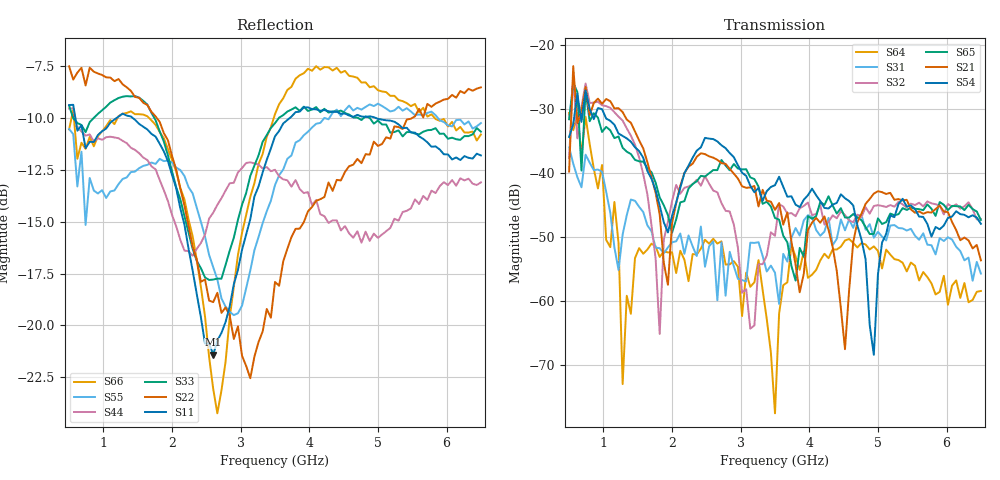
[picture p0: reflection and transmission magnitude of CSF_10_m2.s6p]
!Keysight Technologies,M9804A,MY58100912,A.14.10.03
!Date: Thursday, April 27, 2023 10:28:33
!Correction: S11(C  6-Port  )
!S12(C  6-Port  )
!S13(C  6-Port  )
!S14(C  6-Port  )
!S15(C  6-Port  )
!S16(C  6-Port  )
!S21(C  6-Port  )
!S22(C  6-Port  )
!S23(C  6-Port  )
!S24(C  6-Port  )
!S25(C  6-Port  )
!S26(C  6-Port  )
!S31(C  6-Port  )
!S32(C  6-Port  )
!S33(C  6-Port  )
!S34(C  6-Port  )
!S35(C  6-Port  )
!S36(C  6-Port  )
!S41(C  6-Port  )
!S42(C  6-Port  )
!S43(C  6-Port  )
!S44(C  6-Port  )
!S45(C  6-Port  )
!S46(C  6-Port  )
!S51(C  6-Port  )
!S52(C  6-Port  )
!S53(C  6-Port  )
!S54(C  6-Port  )
!S55(C  6-Port  )
!S56(C  6-Port  )
!S61(C  6-Port  )
!S62(C  6-Port  )
!S63(C  6-Port  )
!S64(C  6-Port  )
!S65(C  6-Port  )
!S66(C  6-Port  )
!S6P File: Measurement: :
# Hz S  RI  R 50
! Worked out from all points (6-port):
!   101 points, 500 MHz to 6.5 GHz, reference 50 ohm
!   strongest paths, dB at 500 MHz, 2 GHz, 3.5 GHz, 5 GHz, 6.5 GHz:
!     S54: -34.4, -46.7, -41.9, -55.8, -47.9
!     S21: -39.8, -47.8, -45.8, -42.8, -53.6
!     S65: -31.6, -49.3, -47.0, -47.1, -47.3
!     S32: -37.7, -44.4, -49.8, -45.0, -47.2
!     S31: -36.0, -50.8, -55.6, -49.2, -55.7
!     S64: -30.6, -52.4, -77.5, -52.2, -58.4
!   lowest |S11| = -21.4 dB at 2.6 GHz (marker M1), VSWR 1.19, Z = 42.5 + j2.19 ohm
!   |S11| at or under -10 dB: 590.9 MHz to 1.189 GHz (597.8 MHz wide, 67.2 % of centre); 1.43 GHz to 3.713 GHz (2.282 GHz wide, 88.8 % of centre); 4.973 GHz to end of sweep
